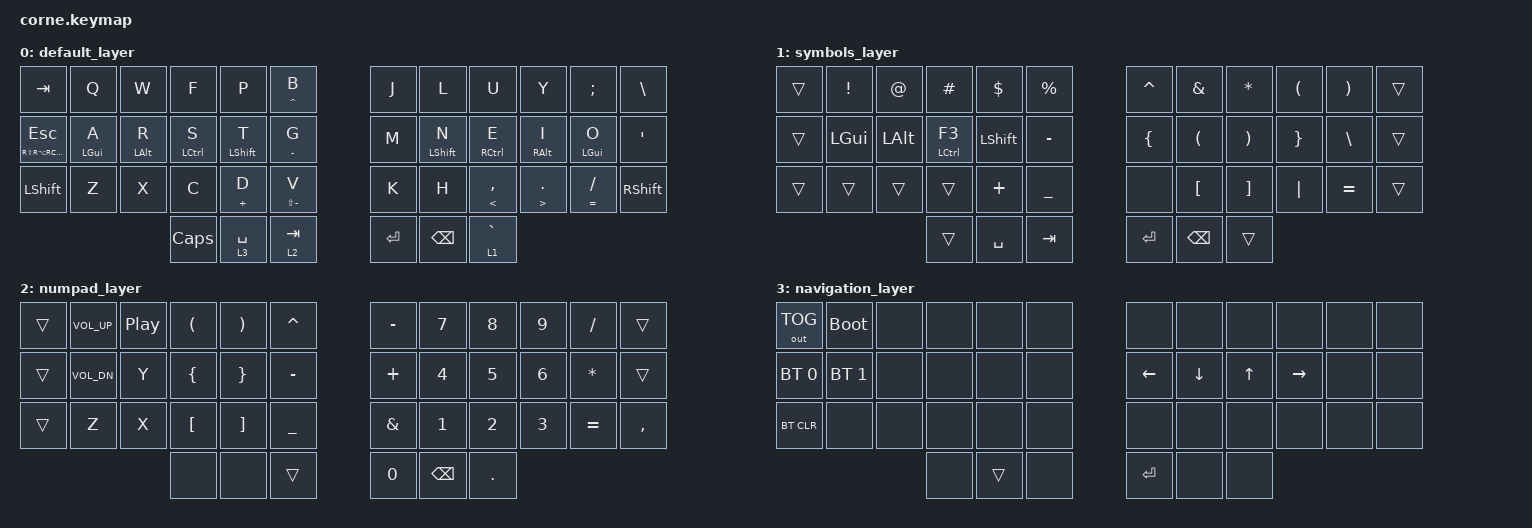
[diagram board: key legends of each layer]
/*
 * Copyright (c) 2020 The ZMK Contributors
 *
 * SPDX-License-Identifier: MIT
 */

#include <behaviors.dtsi>
#include <dt-bindings/zmk/bt.h>
#include <dt-bindings/zmk/keys.h>
#include <dt-bindings/zmk/outputs.h>

&mt {
    flavor = "tap-preferred";
    tapping_term_ms = <200>;
};

/ {
    behaviors {
        hm: homerow_mods {
            compatible = "zmk,behavior-hold-tap";
            label = "HOMEROW_MODS";
            #binding-cells = <2>;
            tapping-term-ms = <200>;
            quick_tap_ms = <0>;
            flavor = "tap-preferred";
            bindings = <&kp>, <&kp>;
        };

        td: tapdance {
            compatible = "zmk,behavior-hold-tap";
            label = "TAPDANCE";
            #binding-cells = <2>;
            tapping-term-ms = <150>;
            quick_tap_ms = <0>;
            flavor = "tap-preferred";
            bindings = <&kp>, <&kp>;
        };
    };

    keymap {
        compatible = "zmk,keymap";

        default_layer {
            bindings = <
&kp TAB                           &kp Q       &kp W       &kp F        &kp P         &td CARET B        &kp J    &kp L         &kp U         &kp Y       &kp SEMI        &kp BSLH
&mt RS(RA(RC(RIGHT_GUI))) ESCAPE  &hm LGUI A  &hm LALT R  &hm LCTRL S  &hm LSHIFT T  &td MINUS G        &kp M    &hm LSHIFT N  &hm RCTRL E   &hm RALT I  &hm LGUI O      &kp SQT
&kp LEFT_SHIFT                    &kp Z       &kp X       &kp C        &td PLUS D    &td LS(MINUS) V    &kp K    &kp H         &td LT COMMA  &td GT DOT  &td EQUAL FSLH  &kp RIGHT_SHIFT
                                                          &kp CAPS     &lt 3 SPACE   &lt 2 TAB          &kp RET  &kp BSPC      &lt 1 GRAVE
            >;
        };

        symbols_layer {
            bindings = <
&trans  &kp EXCL  &kp AT    &kp HASH      &kp DLLR    &kp PRCNT    &kp CARET  &kp AMPS  &kp STAR  &kp LPAR  &kp RPAR   &trans
&trans  &kp LGUI  &kp LALT  &hm LCTRL F3  &kp LSHIFT  &kp MINUS    &kp LBRC   &kp LPAR  &kp RPAR  &kp RBRC  &kp BSLH   &trans
&trans  &trans    &trans    &trans        &kp PLUS    &kp UNDER    &none      &kp LBKT  &kp RBKT  &kp PIPE  &kp EQUAL  &trans
                            &trans        &kp SPACE   &kp TAB      &kp RET    &kp BSPC  &trans
            >;
        };

        numpad_layer {
            bindings = <
&trans  &kp C_VOL_UP  &kp C_PP  &kp LPAR  &kp RPAR  &kp CARET    &kp MINUS  &kp N7    &kp N8   &kp N9  &kp FSLH   &trans
&trans  &kp C_VOL_DN  &kp Y     &kp LBRC  &kp RBRC  &kp MINUS    &kp PLUS   &kp N4    &kp N5   &kp N6  &kp STAR   &trans
&trans  &kp Z         &kp X     &kp LBKT  &kp RBKT  &kp UNDER    &kp AMPS   &kp N1    &kp N2   &kp N3  &kp EQUAL  &kp COMMA
                                &none     &none     &trans       &kp N0     &kp BSPC  &kp DOT
            >;
        };

        navigation_layer {
            bindings = <
&out OUT_TOG  &bootloader   &none  &none  &none   &none    &none     &none     &none   &none      &none  &none
&bt BT_SEL 0  &bt BT_SEL 1  &none  &none  &none   &none    &kp LEFT  &kp DOWN  &kp UP  &kp RIGHT  &none  &none
&bt BT_CLR    &none         &none  &none  &none   &none    &none     &none     &none   &none      &none  &none
                                   &none  &trans  &none    &kp RET   &none     &none
            >;
        };
    };
};
